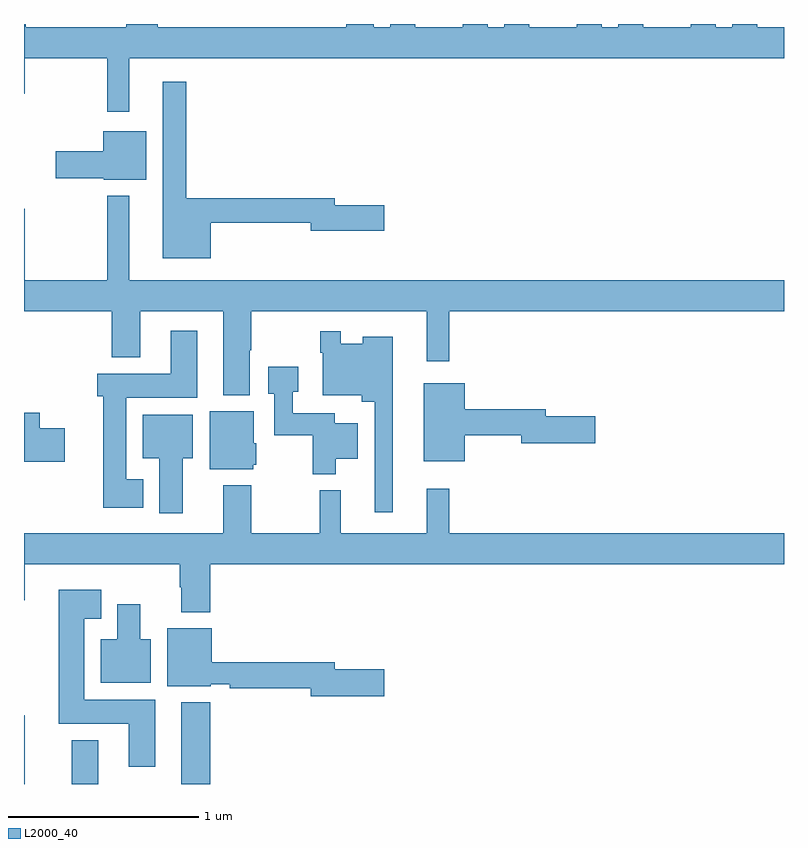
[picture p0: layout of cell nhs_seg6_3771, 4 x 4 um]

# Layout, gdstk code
import gdstk
lib = gdstk.Library(unit=1e-6, precision=1e-09)
def R(c, l, rs):  # rectangles x0, y0, x1, y1
    for r in rs: c.add(gdstk.rectangle(r[:2], r[2:], *l))
def P(c, l, *ps):  # polygons
    for p in ps: c.add(gdstk.Polygon(p, *l))
L2000_40 = (2000, 40)

nhs_seg6_3771 = lib.new_cell('nhs_seg6_3771')
R(nhs_seg6_3771, L2000_40, [(333,959.5,333.004,959.863), (333.251,959.5,333.391,959.731), (333.827,959.5,333.98,959.929)])
P(nhs_seg6_3771, L2000_40, [(333.553,963.32),(337,963.32),(337,963.484),(336.859,963.484),(336.859,963.5),(336.728,963.5),(336.728,963.484),(336.64,963.484),(336.64,963.5),(336.509,963.5),(336.509,963.484),(336.259,963.484),(336.259,963.5),(336.128,963.5),(336.128,963.484),(336.04,963.484),(336.04,963.5),(335.909,963.5),(335.909,963.484),(335.659,963.484),(335.659,963.5),(335.528,963.5),(335.528,963.484),(335.44,963.484),(335.44,963.5),(335.309,963.5),(335.309,963.484),(335.059,963.484),(335.059,963.5),(334.928,963.5),(334.928,963.484),(334.84,963.484),(334.84,963.5),(334.697,963.5),(334.697,963.484),(333.704,963.484),(333.704,963.5),(333.539,963.5),(333.539,963.484),(333.008,963.484),(333.008,963.5),(333,963.5),(333,963.132),(333.004,963.132),(333.004,963.32),(333.439,963.32),(333.439,963.039),(333.553,963.039)],
  [(333.982,962.454),(334.508,962.454),(334.508,962.411),(334.897,962.411),(334.897,962.546),(334.636,962.546),(334.636,962.582),(333.853,962.582),(333.853,963.196),(333.731,963.196),(333.731,962.267),(333.982,962.267)],
  [(333.643,962.935),(333.416,962.935),(333.416,962.829),(333.168,962.829),(333.168,962.687),(333.42,962.687),(333.42,962.681),(333.643,962.681)],
  [(333,962.527),(333,961.988),(333.461,961.988),(333.461,961.745),(333.613,961.745),(333.613,961.988),(334.049,961.988),(334.049,961.547),(334.189,961.547),(334.189,961.783),(334.197,961.783),(334.197,961.988),(335.12,961.988),(335.12,961.725),(335.237,961.725),(335.237,961.988),(337,961.988),(337,962.152),(333.553,962.152),(333.553,962.596),(333.439,962.596),(333.439,962.152),(333.004,962.152),(333.004,962.527)],
  [(333.628,961.105),(333.538,961.105),(333.538,961.532),(333.913,961.532),(333.913,961.885),(333.773,961.885),(333.773,961.66),(333.386,961.66),(333.386,961.542),(333.416,961.542),(333.416,960.953),(333.628,960.953)],
  [(334.942,961.855),(334.784,961.855),(334.784,961.816),(334.668,961.816),(334.668,961.882),(334.56,961.882),(334.56,961.769),(334.572,961.769),(334.572,961.547),(334.777,961.547),(334.777,961.511),(334.845,961.511),(334.845,960.93),(334.942,960.93)],
  [(334.642,961.211),(334.756,961.211),(334.756,961.399),(334.636,961.399),(334.636,961.452),(334.414,961.452),(334.414,961.565),(334.444,961.565),(334.444,961.695),(334.286,961.695),(334.286,961.553),(334.317,961.553),(334.317,961.336),(334.52,961.336),(334.52,961.13),(334.642,961.13)],
  [(335.32,961.336),(335.618,961.336),(335.618,961.294),(336.007,961.294),(336.007,961.436),(335.746,961.436),(335.746,961.472),(335.32,961.472),(335.32,961.609),(335.105,961.609),(335.105,961.199),(335.32,961.199)],
  [(334.206,961.179),(334.222,961.179),(334.222,961.293),(334.21,961.293),(334.21,961.462),(333.977,961.462),(333.977,961.157),(334.206,961.157)],
  [(333.214,961.373),(333.082,961.373),(333.082,961.453),(333,961.453),(333,961.195),(333.214,961.195)],
  [(333.835,961.214),(333.889,961.214),(333.889,961.444),(333.626,961.444),(333.626,961.214),(333.713,961.214),(333.713,960.924),(333.835,960.924)],
  [(333.98,960.656),(337,960.656),(337,960.82),(335.237,960.82),(335.237,961.054),(335.12,961.054),(335.12,960.82),(334.667,960.82),(334.667,961.045),(334.557,961.045),(334.557,960.82),(334.197,960.82),(334.197,961.072),(334.049,961.072),(334.049,960.82),(333,960.82),(333,960.468),(333.004,960.468),(333.004,960.656),(333.82,960.656),(333.82,960.536),(333.827,960.536),(333.827,960.404),(333.98,960.404)],
  [(333.691,959.944),(333.316,959.944),(333.316,960.371),(333.406,960.371),(333.406,960.523),(333.182,960.523),(333.182,959.816),(333.551,959.816),(333.551,959.592),(333.691,959.592)],
  [(333.667,960.262),(333.613,960.262),(333.613,960.445),(333.491,960.445),(333.491,960.262),(333.404,960.262),(333.404,960.032),(333.667,960.032)],
  [(334.897,960.104),(334.636,960.104),(334.636,960.14),(333.988,960.14),(333.988,960.319),(333.755,960.319),(333.755,960.014),(333.984,960.014),(333.984,960.024),(334.084,960.024),(334.084,960.004),(334.508,960.004),(334.508,959.962),(334.897,959.962)])

lib.write_gds('nhs_seg6_3771.gds')
